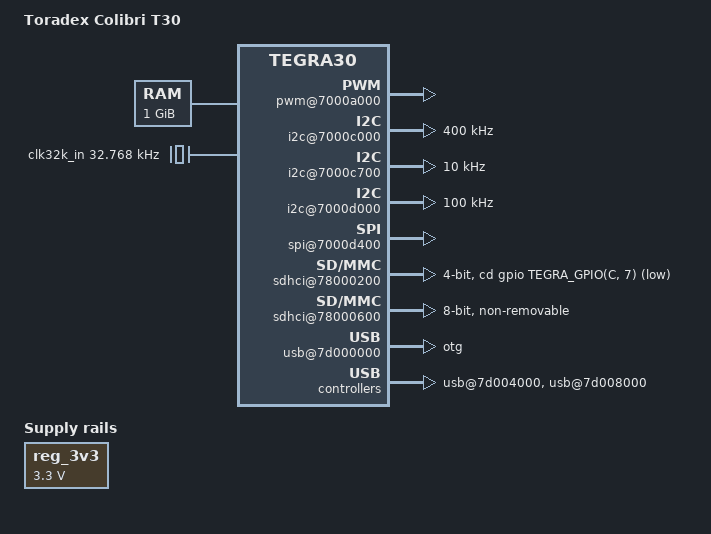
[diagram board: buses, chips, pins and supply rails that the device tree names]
/dts-v1/;

#include "tegra30.dtsi"

/ {
	model = "Toradex Colibri T30";
	compatible = "toradex,colibri_t30", "nvidia,tegra30";

	chosen {
		stdout-path = &uarta;
	};

	aliases {
		i2c0 = "/i2c@7000d000";
		i2c1 = "/i2c@7000c000";
		i2c2 = "/i2c@7000c700";
		mmc0 = "/sdhci@78000600";
		mmc1 = "/sdhci@78000200";
		spi0 = "/spi@7000d400";
		usb0 = "/usb@7d000000";
		usb1 = "/usb@7d004000"; /* on module only, for ASIX */
		usb2 = "/usb@7d008000";
		ethernet = &ethernet; /*eth0*/
		ethernet1 = &ethernet1; /*eth1*/
		ethernet2 = &ethernet2; /*eth2*/
	};

	memory {
		device_type = "memory";
		reg = <0x80000000 0x40000000>;
	};

	pwm@7000a000 {
		status = "okay";
	};

	/*
	 * GEN1_I2C: I2C_SDA/SCL on SODIMM pin 194/196 (e.g. RTC on carrier
	 * board)
	 */
	i2c@7000c000 {
		status = "okay";
		clock-frequency = <400000>;
	};

	/* GEN2_I2C: unused */

	/* CAM_I2C: unused */

	/* DDC_CLOCK/DATA on X3 pin 15/16 (e.g. display EDID) */
	i2c@7000c700 {
		status = "okay";
		clock-frequency = <10000>;
	};

	/*
	 * PWR_I2C: power I2C to audio codec, PMIC, temperature sensor and
	 * touch screen controller
	 */
	i2c@7000d000 {
		status = "okay";
		clock-frequency = <100000>;
	};

	/* SPI1: Colibri SSP */
	spi@7000d400 {
		status = "okay";
		spi-max-frequency = <25000000>;
	};

	sdhci@78000200 {
		status = "okay";
		bus-width = <4>;
		cd-gpios = <&gpio TEGRA_GPIO(C, 7) GPIO_ACTIVE_LOW>; /* MMCD */
	};

	sdhci@78000600 {
		status = "okay";
		bus-width = <8>;
		non-removable;
	};

	/* EHCI instance 0: USB1_DP/N -> USBC_P/N */
	usb@7d000000 {
		status = "okay";
		dr_mode = "otg";
	};

	/* EHCI instance 1: USB2_DP/N -> AX88772B */
	usb@7d004000 {
		status = "okay";
		/* VBUS_LAN */
		nvidia,vbus-gpio = <&gpio TEGRA_GPIO(DD, 2) GPIO_ACTIVE_HIGH>;

		ethernet: asix@0 {
			reg = <1>;
			local-mac-address = [00 00 00 00 00 00];
		};
	};

	/* EHCI instance 2: USB3_DP/N -> USBH_P/N */
	usb@7d008000 {
		status = "okay";
		
		/* eth1 */
		ethernet1: asix@0 {
			reg = <1>;
			mac-address = [00 00 00 00 00 00];
		};
		/* flexray eth2 uses eeprom */
		ethernet2: asix@1 {
			reg = <1>;
			mac-address = [00 00 00 00 00 00];
		};
	};

	clocks {
		compatible = "simple-bus";
		#address-cells = <1>;
		#size-cells = <0>;

		clk32k_in: clk@0 {
			compatible = "fixed-clock";
			reg=<0>;
			#clock-cells = <0>;
			clock-frequency = <32768>;
		};
	};

	regulators {
		compatible = "simple-bus";
		#address-cells = <1>;
		#size-cells = <0>;

		reg_3v3: regulator@0 {
			compatible = "regulator-fixed";
			reg = <0>;
			regulator-name = "+V3.3";
			regulator-min-microvolt = <3300000>;
			regulator-max-microvolt = <3300000>;
			regulator-always-on;
		};
	};
};
